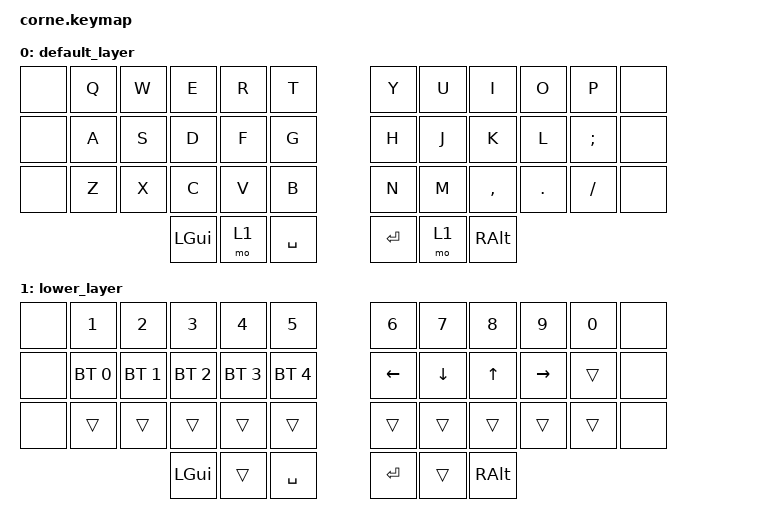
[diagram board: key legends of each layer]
/*
 * Copyright (c) 2020 The ZMK Contributors
 *
 * SPDX-License-Identifier: MIT
 */

#include <behaviors.dtsi>
#include <dt-bindings/zmk/keys.h>
#include <dt-bindings/zmk/bt.h>

/ {
        keymap {
                compatible = "zmk,keymap";

                default_layer {
// -----------------------------------------------------------------------------------------
// |  TAB |  Q  |  W  |  E  |  R  |  T  |   |  Y  |  U   |  I  |  O  |  P  | BSPC |
// | CTRL |  A  |  S  |  D  |  F  |  G  |   |  H  |  J   |  K  |  L  |  ;  |  '   |
// | SHFT |  Z  |  X  |  C  |  V  |  B  |   |  N  |  M   |  ,  |  .  |  /  | ESC  |
//                    | GUI | LWR | SPC |   | ENT | RSE  | ALT |
                        bindings = <
   &none &kp Q &kp W &kp E &kp R &kp T   &kp Y &kp U  &kp I     &kp O   &kp P    &none
   &none &kp A &kp S &kp D &kp F &kp G   &kp H &kp J  &kp K     &kp L   &kp SEMI &none
   &none &kp Z &kp X &kp C &kp V &kp B   &kp N &kp M  &kp COMMA &kp DOT &kp FSLH &none
                  &kp LGUI &mo 1 &kp SPACE   &kp RET &mo 1 &kp RALT
                        >;
                };
                lower_layer {
// -----------------------------------------------------------------------------------------
// |  TAB |  1  |  2  |  3  |  4  |  5  |   |  6  |  7  |  8  |  9  |  0  | BSPC |
// | BTCLR| BT1 | BT2 | BT3 | BT4 | BT5 |   | LFT | DWN |  UP | RGT |     |      |
// | SHFT |     |     |     |     |     |   |     |     |     |     |     |      |
//                    | GUI |     | SPC |   | ENT |     | ALT |
                        bindings = <
   &none    &kp N1       &kp N2       &kp N3       &kp N4       &kp N5         &kp N6   &kp N7   &kp N8 &kp N9    &kp N0 &none
   &none &bt BT_SEL 0 &bt BT_SEL 1 &bt BT_SEL 2 &bt BT_SEL 3 &bt BT_SEL 4   &kp LEFT &kp DOWN &kp UP &kp RIGHT &trans &none
   &none  &trans       &trans       &trans       &trans       &trans         &trans   &trans   &trans &trans    &trans &none
                                    &kp LGUI     &trans       &kp SPACE      &kp RET  &trans   &kp RALT
                        >;
                };
        };
};
